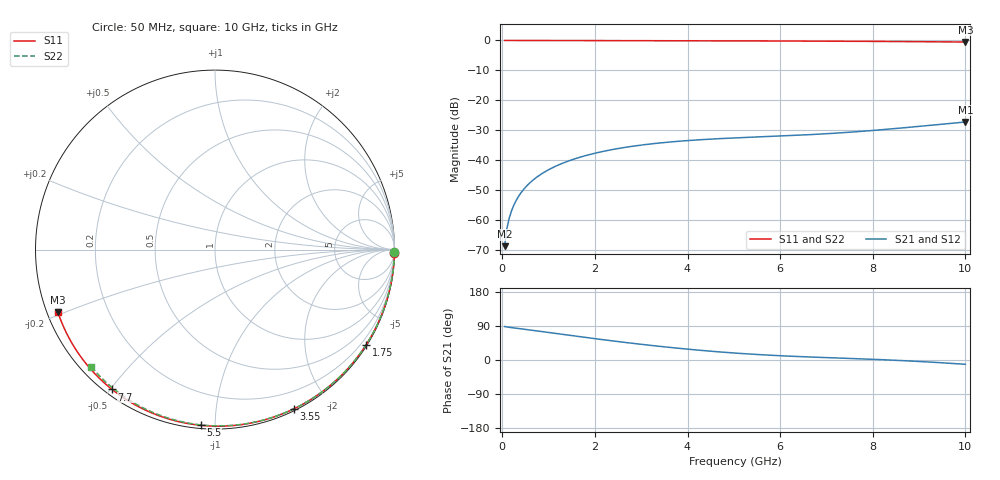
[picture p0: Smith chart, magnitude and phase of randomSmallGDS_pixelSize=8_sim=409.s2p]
! freq	dB(S11)	phase(S11)	dB(S12)	phase(S12)
!  dB(S21)	phase(S21)	dB(S22)	phase(S22)
!S-par simulation data
#  GHz  S  DB  R 50
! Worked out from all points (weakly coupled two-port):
!   200 points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, 50 MHz to 10 GHz, reference 50 ohm
!   highest |S21| = -27.23 dB at 10 GHz (marker M1); lowest = -68.7 dB at 50 MHz (marker M2)
!   lowest |S11| = -0.5 dB at 10 GHz (marker M3), VSWR 33.55, Z = 1.54 - j9.55 ohm
!   |S11| at or under -10 dB: nowhere
!   |S22| runs from -0.5 to 0.0 dB; largest |S21 - S12| = 0
!   S11 on the Smith chart (normalised r, x): 50 MHz: open; 1.75 GHz: 0.03, -3.45; 3.55 GHz: 0.02, -1.61; 5.5 GHz: 0.02, -0.92; 7.7 GHz: 0.02, -0.51; 10 GHz: 0.03, -0.19
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0.05  -0.00 -0.9  -68.70 88.4  -68.70 88.4  -0.00 -0.8
0.1  -0.00 -1.9  -62.76 87.1  -62.76 87.1  -0.00 -1.6
0.15  -0.00 -2.8  -59.32 86.2  -59.32 86.2  -0.00 -2.4
0.2  -0.00 -3.8  -56.87 85.4  -56.87 85.4  -0.00 -3.2
0.25  -0.00 -4.7  -54.97 84.7  -54.97 84.7  -0.00 -4.0
0.35  -0.00 -6.6  -52.09 83.1  -52.09 83.1  -0.00 -5.6
0.5  -0.01 -9.4  -49.04 80.8  -49.04 80.8  -0.01 -8.0
0.7  -0.01 -13.1  -46.17 77.5  -46.17 77.5  -0.01 -11.2
1  -0.02 -18.7  -43.17 72.5  -43.17 72.5  -0.02 -16.0
1.35  -0.03 -25.1  -40.71 66.7  -40.71 66.7  -0.03 -21.5
1.75  -0.04 -32.3  -38.67 60.2  -38.67 60.2  -0.04 -27.7
2.5  -0.06 -45.7  -36.09 48.6  -36.09 48.6  -0.05 -39.2
3.4  -0.08 -61.1  -34.23 36.0  -34.23 36.0  -0.07 -52.5
3.55  -0.09 -63.6  -34.01 34.1  -34.01 34.1  -0.07 -54.7
4.3  -0.11 -75.9  -33.13 25.3  -33.13 25.3  -0.09 -65.4
5.05  -0.14 -87.7  -32.53 18.1  -32.53 18.1  -0.12 -75.8
5.5  -0.15 -94.6  -32.23 14.5  -32.23 14.5  -0.13 -81.8
6.7  -0.22 -112.2  -31.41 7.6  -31.41 7.6  -0.19 -97.3
7.7  -0.29 -126.4  -30.42 3.2  -30.42 3.2  -0.25 -109.6
8.35  -0.34 -135.4  -29.60 0.1  -29.60 0.1  -0.30 -117.4
9.2  -0.43 -147.2  -28.40 -5.2  -28.40 -5.2  -0.37 -127.3
10  -0.52 -158.4  -27.23 -11.3  -27.23 -11.3  -0.45 -136.6
